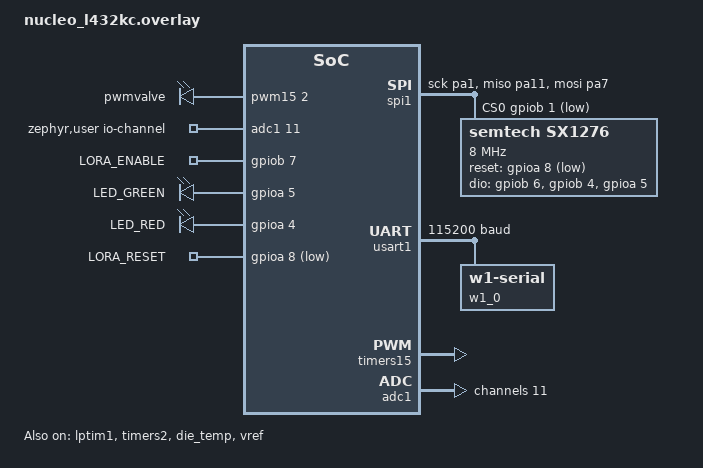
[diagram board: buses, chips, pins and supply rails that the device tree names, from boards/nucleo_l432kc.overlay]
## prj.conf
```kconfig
CONFIG_PINCTRL=y
CONFIG_GPIO=y
CONFIG_PWM=y

CONFIG_LORA=y
CONFIG_LORA_SX127X=y

CONFIG_SPI=y

CONFIG_CBPRINTF_FP_SUPPORT=y


# Enables deep sleep modes
CONFIG_PM=y                   # Enable power management
CONFIG_PM_DEVICE=y            # For device power management
CONFIG_PM_DEVICE_RUNTIME=y
CONFIG_PM_DEVICE_SYSTEM_MANAGED=y
CONFIG_TICKLESS_KERNEL=y
CONFIG_STM32_LPTIM_TIMER=y

CONFIG_COUNTER=y

# for the 1-wire temperature sensor
CONFIG_SENSOR=y
CONFIG_W1=y

CONFIG_ADC=y

CONFIG_LOG=y
CONFIG_LOG_DEFAULT_LEVEL=3

CONFIG_FLASH=y
CONFIG_NVS=y
CONFIG_NVS_LOG_LEVEL_DBG=y
CONFIG_MPU_ALLOW_FLASH_WRITE=y
```

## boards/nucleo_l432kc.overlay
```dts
// DO NOT FORGET TO REMOVE SB9 JUMPER ON THE NUCLEO BOARD

/* SX1276 LoRa module connected to Nucleo-L432KC over SPI1 */
&spi1 {
    status = "okay";
    cs-gpios = <&gpiob 1 GPIO_ACTIVE_LOW>; 
    pinctrl-0 = < &spi1_sck_pa1 &spi1_miso_pa11 &spi1_mosi_pa7 >;
    lora0: sx1276@0 {
        compatible = "semtech,sx1276";
        reg = <0>;
        label = "SX1276";
        spi-max-frequency = <DT_FREQ_M(8)>;
        status = "okay";
        reset-gpios = <&gpioa 8 GPIO_ACTIVE_LOW>;  
        dio-gpios = <&gpiob 6 (GPIO_PULL_DOWN | GPIO_ACTIVE_HIGH)>,
                    <&gpiob 4 (GPIO_PULL_DOWN | GPIO_ACTIVE_HIGH)>,
                    <&gpioa 5 (GPIO_PULL_DOWN | GPIO_ACTIVE_HIGH)>;
        power-amplifier-output = "pa-boost";
        //dio3-tcxo-voltage = <SX126X_DIO3_TCXO_1V8>;
    };
};


&usart1_tx_pa9 {
	drive-open-drain;
	bias-pull-up;
    slew-rate = "very-high-speed";
};

&can1 {
    status = "disabled";
};

&i2c1 {
    status = "disabled";
};


&lptim1 {
    status = "okay";
};


&usart1 {
    status = "okay";
    single-wire;
    current-speed = <115200>;
    w1_0: w1-zephyr-serial-0 {
		compatible = "zephyr,w1-serial";
		#address-cells = <1>;
		#size-cells = <0>;
		status = "okay";

		ds18b20-0 {
            label = "SENSOR_DS18B20_0";
            compatible = "maxim,ds18b20";
            family-code = <0x28>;
            resolution = <12>;
            status = "okay";
        };
        
        
        ds18b20-1 {
            label = "SENSOR_DS18B20_1";
            compatible = "maxim,ds18b20";
            family-code = <0x28>;
            resolution = <12>;
            status = "okay";
        };

        ds18b20-2 {
            label = "SENSOR_DS18B20_2";
            compatible = "maxim,ds18b20";
            family-code = <0x28>;
            resolution = <12>;
            status = "okay";
        };
       
        
        // already having two nodes in the device tree is enough
        // to start identifying multiple devices on the bus 
        // with their ROMs
	};
};

&rtc {
    status = "disabled";
    //clocks = <&rcc STM32_CLOCK(APB1, 10U)>;
    //wakeup-source;
};

&timers6{
    status = "disabled";
};

&timers2{
    status = "okay";
    st,prescaler = <7999>;// will count with ticks of 0.1ms
    counter2: counter{
        compatible = "st,stm32-counter";
        status = "okay";
    };
};

&timers15{
    st,prescaler = <79>;
    status = "okay";
    pwm15: pwm{
        compatible = "st,stm32-pwm";
        status = "okay";
        pinctrl-0 = <&tim15_ch2_pa3>;
        pinctrl-names = "default";
    };
};

&die_temp{
    status = "okay";
};

&adc1{
    status = "okay";
    st,adc-clock-source = "SYNC";
    st,adc-prescaler = < 4 >;
    #address-cells = <1>;
	#size-cells = <0>;
    vref-mv = <3300>;
    channel@b{
        reg = <11>;
        zephyr,gain = "ADC_GAIN_1";
		zephyr,reference = "ADC_REF_INTERNAL";
		zephyr,acquisition-time = <ADC_ACQ_TIME_DEFAULT>;
		zephyr,resolution = <12>;
    };
};

&vref {
    status = "okay";
};

/ {
    pwmleds: pwmleds{
        compatible = "pwm-leds";
        status = "okay";
        pwmvalve: tim15_ch2n_pwm{
            pwms = <&pwm15 2 PWM_MSEC(2) PWM_POLARITY_NORMAL>;
        };
    };
    aliases {
        lora0 = &lora0;
        rtc0 = &rtc;
        lora-en-pin = &lora_en;
        lora-reset-pin = &lore_reset;
        led-green-pin = &led_green;
        led-red-pin = &led_red;
        die-temp0 = &die_temp;
    };

    chosen{
        zephyr,rtc = &rtc;

        //zephyr,cortex-m-idle-timer = &rtc;
    };

    zephyr,user{
        io-channels = <&adc1 11>;
    };

    leds{
        compatible = "gpio-leds";
        status = "okay";

        lora_en: lora-en{
            gpios = <&gpiob 7 GPIO_ACTIVE_HIGH>;
            label = "LORA_ENABLE";
        };

        led_green: led-green{
            gpios = <&gpioa 5 GPIO_ACTIVE_HIGH>;
            label = "LED_GREEN";
        };

        led_red: led-red{
            gpios = <&gpioa 4 GPIO_ACTIVE_HIGH>;
            label = "LED_RED";
        };

        lore_reset: lora-reset{
            gpios = <&gpioa 8 GPIO_ACTIVE_LOW>;
            label = "LORA_RESET";
        };
    };

};
```

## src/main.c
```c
/*
 * Copyright (c) 2019 Nordic Semiconductor ASA
 *
 * SPDX-License-Identifier: Apache-2.0
 */

#include <zephyr/kernel.h>
#include <zephyr/device.h>
#include <zephyr/pm/device_runtime.h>
#include <zephyr/pm/pm.h>

#include <zephyr/drivers/gpio.h>
#include <zephyr/drivers/pwm.h>
#include <zephyr/drivers/lora.h>
#include <zephyr/drivers/counter.h>
#include <zephyr/drivers/sensor.h>
#include <zephyr/drivers/w1.h>
#include <zephyr/drivers/sensor/w1_sensor.h>
#include <zephyr/drivers/adc.h> 

#include <zephyr/sys/util.h>
#include <zephyr/sys/byteorder.h>

#include <zephyr/drivers/flash.h>
#include <zephyr/storage/flash_map.h>
#include <zephyr/fs/nvs.h>


// Here is a description of what this program will do:
// It will mostly be asleep. Every 5 minutes it will wake up, measure the
// temperature(s), activate the valve if necessary (remember how long it
// opened that for), and send a LoRa packet with the temperature(s) and
// valve opening duration. After sending this LoRa packet, it might get
// a reply packet with new settings.




//---------------------------- DEFINES ----------------------------------------
// comment out this line to disable debug prints
#define DEBUGGING 1

// kinds of algorithms:
// 1: simple threshold-based control
// 2: ERT calculating control
#define CONTROL_ALGORITHM 2

// this defines the maximum length of a LoRa packet
#define LORA_MAX_PACKET_LEN 32

#define NUMBER_OF_TEMP_SENSORS 3

#define PWM_PHASE_FREQUENCY 250
#define PWM_TIMER_FREQUENCY 1000000

#if !DT_NODE_EXISTS(DT_PATH(zephyr_user)) || \
	!DT_NODE_HAS_PROP(DT_PATH(zephyr_user), io_channels)
#error "No suitable devicetree overlay specified"
#endif

#define DT_SPEC_AND_COMMA(node_id, prop, idx) \
	ADC_DT_SPEC_GET_BY_IDX(node_id, idx),
//------------------------ DEVICETREE INSTANCES -------------------------------

// the non-volatile storage stores the target positions from the last
// experiment such that a calibrated position can be retained, the stages
// won't have to move far (loudly) to get to this position.
#define NVS_PARTITION storage_partition
#define NVS_PARTITION_DEVICE  FIXED_PARTITION_DEVICE(NVS_PARTITION)
#define NVS_PARTITION_OFFSET	FIXED_PARTITION_OFFSET(NVS_PARTITION)

//#define RECOMMENDED_ERT_AT_72 2718 // 3log10 
#define RECOMMENDED_ERT_AT_72 439 // 2log10 

// LORA RADIO
#define LORA_NODE DT_ALIAS(lora0)
const struct device *const lora_dev = DEVICE_DT_GET(LORA_NODE);

// ONBOARD LEDs
#define LED_RED_NODE DT_ALIAS(led_red_pin)
static const struct gpio_dt_spec led_red = GPIO_DT_SPEC_GET(LED_RED_NODE, gpios);

#define LED_GREEN_NODE DT_ALIAS(led_green_pin)
static const struct gpio_dt_spec led_green = GPIO_DT_SPEC_GET(LED_GREEN_NODE, gpios);

// LORA RESET PIN
#define LORA_RESET_NODE DT_ALIAS(lora_reset_pin)
static const struct gpio_dt_spec lora_reset = GPIO_DT_SPEC_GET(LORA_RESET_NODE, gpios);

// CONSOLE UART

// COUNTER
const struct device *counter_dev = DEVICE_DT_GET(DT_NODELABEL(counter2));

// PWM
static const struct pwm_dt_spec pwm_dev = PWM_DT_SPEC_GET(DT_NODELABEL(pwmvalve));

// ADC (for battery voltage measurement)
static const struct adc_dt_spec adc_channels[] = {
	DT_FOREACH_PROP_ELEM(DT_PATH(zephyr_user), io_channels,
			     DT_SPEC_AND_COMMA)
};

// DIE TEMPERATURE
#define DIE_TEMP_NODE DT_ALIAS(die_temp0)
static const struct device *const die_temp_sensor = DEVICE_DT_GET(DIE_TEMP_NODE);

// VALVE IO
uint32_t pwm_period_in_ns = PWM_TIMER_FREQUENCY / PWM_PHASE_FREQUENCY;

//----------------------- USERSPACE VARIABLES ---------------------------------
static struct nvs_fs non_volatile_file_system;

struct ert_point{
    float equivalent_time_72;
    uint8_t valid;
};

// The filesystem works like a python dictionary. Every variable
// field there is accessed by a number
#define ERT_POINTS_ARRAY 0
#define INDEX_TO_ERT_MOST_RECENT 1
#define ACCUMULATED_ERTS 2

struct ert_point ert_points[1440];
uint16_t index_most_recent_ert_point = 0;
float accumulated_retention_time_72 = 0;

uint8_t lora_tx_buffer[LORA_MAX_PACKET_LEN];
uint8_t lora_rx_buffer[LORA_MAX_PACKET_LEN];


// LORA config
struct lora_modem_config lora_configuration = {
	// these have to match the gateway settings!
	.frequency = 433000000,
	.bandwidth = BW_125_KHZ,
	.datarate = SF_10,
	.preamble_len = 8,
	.coding_rate = CR_4_5,
	.iq_inverted = false,
	.public_network = false,
	.tx_power = 20,
	.tx = true
};

// simple variable to hold return values
int ret;

volatile uint32_t one_second_counter = 0;
uint32_t counter_frequency;
uint16_t counter_top_value;
struct counter_alarm_cfg alarm_cfg;


// ADC variables
uint16_t adc_measurement_buffer;
struct adc_sequence sequence = {
	.buffer = &adc_measurement_buffer,
	/* buffer size in bytes, not number of samples */
	.buffer_size = sizeof(adc_measurement_buffer),
};
int32_t val_mv;
uint32_t battery_voltage_mv;

// die temperature variables
struct sensor_value die_temp;
float die_temp_celsius;

// tank temperature measurement variables
const struct device* temp_sensor_devices[NUMBER_OF_TEMP_SENSORS];
struct sensor_value temp;
struct w1_rom w1_roms[NUMBER_OF_TEMP_SENSORS];
struct sensor_value rom_values[NUMBER_OF_TEMP_SENSORS];
uint64_t rom_addresses[NUMBER_OF_TEMP_SENSORS] = {
	// IMPORTANT: Set these ROM addresses to match your actual DS18B20 sensor hardware.
	// You can obtain the ROM addresses by running a discovery routine or using a tool to read them from each sensor.
	// Example: Use a 1-Wire ROM search command or a test program to print connected sensor addresses, then update these values.
	// The addresses below are placeholders and must be replaced for production deployment.
	0x28f8a2bb00000078, // top
	0x282091c0000000eb, // middle
	0x28a91e470000006c // bottom
};
float tank_temperatures[NUMBER_OF_TEMP_SENSORS];



#if CONTROL_ALGORITHM == 2
#if CONTROL_ALGORITHM == 2
// (ert_history and ert_history_index removed as they were unused)
#endif

//------------------------ FUNCTION DEFINITIONS ----------------------------------

// kernel sleep forces the system to enter some power
// saving mode, use this delay instead if you don't want that
// but we do want to save power so do not use this function
static inline void blocking_sleep_ms(uint32_t ms_amount){
	uint32_t increments = ms_amount*1000*300/38;
    for(uint32_t i = 0; i < increments; i++);
}


static void counter_interrupt_callback(const struct device *dev,
                                       void *user_data) {
  // 1 second has elapsed
  one_second_counter++;
  #ifdef DEBUGGING
  //printk("Counter interrupt callback called! one_second_counter = %u\n", one_second_counter);
  #endif
}


#if CONTROL_ALGORITHM == 2
// the ert is given by the formula: ert = 5 (minutes) * D_72/D_currentTemp
// I will extrapolate from these values (temperature - D value)
// 60C	12360
// 64C	7973
// 68C	4530
// 72C	2718
// 76C	1652
// 80C	1044
float calculate_ert(float current_temp){
	// some stuff with logarithms. The calculation is in my notebook
	if(current_temp < 60.0){
		return 0;
	}
	float approximate_d_value = 0.0;
	if(current_temp >= 60.0 && current_temp < 64.0){
		approximate_d_value = 7973.0 + (12360.0 - 7973.0) * (64.0 - current_temp) / 4.0;
	}
	else if(current_temp >= 64.0 && current_temp < 68.0){
		approximate_d_value = 4530.0 + (7973.0 - 4530.0) * (68.0 - current_temp) / 4.0;
	}
	else if(current_temp >= 68.0 && current_temp < 72.0){
		approximate_d_value = 2718.0 + (4530.0 - 2718.0) * (72.0 - current_temp) / 4.0;
	}
	else if(current_temp >= 72.0 && current_temp < 76.0){
		approximate_d_value = 1652.0 + (2718.0 - 1652.0) * (76.0 - current_temp) / 4.0;
	}
	else if(current_temp >= 76.0 && current_temp < 80.0){
		approximate_d_value = 1044.0 + (1652.0 - 1044.0) * (80.0 - current_temp) / 4.0;
	}else{
		approximate_d_value = 1044.0;
	}
	return (5 * 2718.0 / approximate_d_value); // 2718 is the D value at 72 degrees, which is our reference temperature
}
#endif

//---------------------------- MAIN FUNCTION -----------------------------------
	ret = pwm_set_dt(&pwm_dev, pwm_period_in_ns, 0); // turn off PWM
	if (ret != 0) {
		#ifdef DEBUGGING
		printk("PWM initialization failed: %d\n", ret);
		#endif
		return ret;
	}
	gpio_pin_configure_dt(&led_red, GPIO_OUTPUT_ACTIVE);
	gpio_pin_configure_dt(&led_green, GPIO_OUTPUT_ACTIVE);
	k_msleep(1000); // wait for things to stabilize
	gpio_pin_configure_dt(&led_red, GPIO_OUTPUT_ACTIVE);
	gpio_pin_configure_dt(&led_green, GPIO_OUTPUT_ACTIVE);
	k_msleep(1000); // wait for things to stabilize

	// NON-VOLATILE STORAGE SETUP
    struct flash_pages_info page_info;

	non_volatile_file_system.flash_device = NVS_PARTITION_DEVICE;
	if (!device_is_ready(non_volatile_file_system.flash_device)) {
		#ifdef DEBUGGING
		printk("Flash device %s is not ready\n", non_volatile_file_system.flash_device->name);
		#endif
		return 0;
	}
	non_volatile_file_system.offset = NVS_PARTITION_OFFSET;
	ret = flash_get_page_info_by_offs(non_volatile_file_system.flash_device, non_volatile_file_system.offset, &page_info);
	if (ret) {
		#ifdef DEBUGGING
		printk("Unable to get page info, rc=%d", ret);
		#endif
		return 0;
	}

	non_volatile_file_system.sector_size = page_info.size;
	non_volatile_file_system.sector_count = 3U;

	ret = nvs_mount(&non_volatile_file_system);
	if (ret) {
		#ifdef DEBUGGING
		printk("Flash Init failed, rc=%d", ret);
		#endif
		return 0;
	}

	ret = nvs_read(&non_volatile_file_system, INDEX_TO_ERT_MOST_RECENT, 
		&index_most_recent_ert_point, sizeof(index_most_recent_ert_point));
	if (ret < 0){ 
		// variable not found in the filesystem.
		// we should initialize it
		index_most_recent_ert_point = 1440 - 1; // so that it is taken to 0 by the algorithm
		nvs_write(&non_volatile_file_system, INDEX_TO_ERT_MOST_RECENT, 
			&index_most_recent_ert_point, sizeof(index_most_recent_ert_point));
	}
	ret = nvs_read(&non_volatile_file_system, ERT_POINTS_ARRAY, 
		ert_points, sizeof(ert_points));
	if (ret < 0){
		// variable not found in the filesystem.
		// we should initialize it
		for(int i = 0; i < 1440; i++){
			ert_points[i].equivalent_time_72 = 0;
			ert_points[i].valid = 0;
		}
		nvs_write(&non_volatile_file_system, ERT_POINTS_ARRAY, 
			ert_points, sizeof(ert_points));
	}

	ret = nvs_read(&non_volatile_file_system, ACCUMULATED_ERTS, 
		&accumulated_retention_time_72, sizeof(accumulated_retention_time_72));
	if (ret < 0){
		// variable not found in the filesystem.
		// we should initialize it by summing up all the erts in the array that we just initialized.
		accumulated_retention_time_72 = 0;
		for(int i = 0; i < 1440; i++){
			accumulated_retention_time_72 += ert_points[i].equivalent_time_72;
		}
		nvs_write(&non_volatile_file_system, ACCUMULATED_ERTS, 
			&accumulated_retention_time_72, sizeof(accumulated_retention_time_72));
	}

	// DEVICE BINDINGS (TEMPERATURE SENSORS)
	temp_sensor_devices[0] =  device_get_binding("SENSOR_DS18B20_0");
	temp_sensor_devices[1] =  device_get_binding("SENSOR_DS18B20_1");
	temp_sensor_devices[2] =  device_get_binding("SENSOR_DS18B20_2");

	for(int i = 0; i < NUMBER_OF_TEMP_SENSORS; i++){
		if (!temp_sensor_devices[i] || !device_is_ready(temp_sensor_devices[i])) {
			#ifdef DEBUGGING
			printk("DS18B20 sensor device %d is not ready or found.\n", i);
			#endif
			return -1;
		}
	}

	for (int i = 0; i < NUMBER_OF_TEMP_SENSORS; i++) {
		w1_uint64_to_rom(rom_addresses[i], &w1_roms[i]);
		w1_rom_to_sensor_value(&w1_roms[i], &rom_values[i]);
	}


	// ADC SETUP
	if (!adc_is_ready_dt(&adc_channels[0])) {
		#ifdef DEBUGGING
		printk("ADC controller device %s not ready\n", adc_channels[0].dev->name);
		#endif
	}

	ret = adc_channel_setup_dt(&adc_channels[0]);
	if (ret < 0) {
		#ifdef DEBUGGING
		printk("Could not setup ADC channel (%d)\n", ret);
		#endif
	}


	while(1){
		#ifdef DEBUGGING
		printk("Program has arrived at main\n");
		#endif


		// COUNTER INIT
		one_second_counter = 0;
		counter_frequency = counter_get_frequency(counter_dev);
		
		struct counter_top_cfg counter_cfg;
		counter_cfg.ticks = counter_frequency*1; // 1 second tops
		counter_cfg.callback = counter_interrupt_callback;
		counter_cfg.flags = 0;
		counter_cfg.user_data = NULL;
		ret = counter_set_top_value(counter_dev, &counter_cfg);
		if (ret != 0) {
			#ifdef DEBUGGING
			printk("Error %d setting counter top value\n", ret);
			#endif
		}
		
		counter_start(counter_dev);
		#ifdef DEBUGGING
		printk("Counter started\n");
		#endif
		// ENDOF: COUNTER INIT


		// LED initialization
		gpio_pin_set_dt(&led_red, 1);


		// GET BATTERY VOLTAGE

		(void)adc_sequence_init_dt(&adc_channels[0], &sequence);
		ret = adc_read_dt(&adc_channels[0], &sequence);
		if (ret < 0) {
			#ifdef DEBUGGING
			printk("Could not read (%d)\n", ret);
			#endif
		}

		val_mv = (int32_t)((int16_t)adc_measurement_buffer);
		ret = adc_raw_to_millivolts_dt(&adc_channels[0],&val_mv);

		if (ret < 0) {
			#ifdef DEBUGGING
			printk(" (value in mV not available)\n");
			#endif
		} else {
			float ratio = (12200.0f / 2200.0f); // voltage divider ratio
			battery_voltage_mv = (uint32_t)((float)val_mv * ratio);
			//battery_voltage_mv = battery_voltage_mv * 13.24/13.04; // calibration factor
			#ifdef DEBUGGING
			printk("Battery voltage reading: %d mV\n", battery_voltage_mv);
			#endif
		}
		// ENDOF: GET BATTERY VOLTAGE

		// GET DIE TEMPERATURE
		ret = sensor_sample_fetch(die_temp_sensor);
		if (ret != 0) {
			#ifdef DEBUGGING
			printk("sample_fetch() failed for die temp sensor: %d\n", ret);
			k_msleep(100);
			#endif
		}

		ret = sensor_channel_get(die_temp_sensor, SENSOR_CHAN_DIE_TEMP, &die_temp);
		if (ret != 0) {
			#ifdef DEBUGGING
			printk("channel_get() failed for die temp sensor: %d\n", ret);
			k_msleep(100);
			#endif
		}
		
		die_temp_celsius = sensor_value_to_double(&die_temp);
		// print die temp
		#ifdef DEBUGGING
		printk("Die temperature: %f\n", die_temp_celsius);
		#endif

		//ENDOF: GET DIE TEMPERATURE

		// READ TEMPERATURE SENSORS
		for(int i = 0; i < NUMBER_OF_TEMP_SENSORS; i++){
			sensor_attr_set(temp_sensor_devices[i], SENSOR_CHAN_ALL,
				SENSOR_ATTR_W1_ROM, &rom_values[i]);
			ret = sensor_sample_fetch(temp_sensor_devices[i]);
			if (ret != 0) {
				#ifdef DEBUGGING
				printk("sample_fetch() failed for sensor %d: %d\n", i, ret);
				k_msleep(100);
				#endif
			}

			ret = sensor_channel_get(temp_sensor_devices[i], SENSOR_CHAN_AMBIENT_TEMP, &temp);
			if (ret != 0) {
				#ifdef DEBUGGING
				printk("channel_get() failed for sensor %d: %d\n", i, ret);
				k_msleep(100);
				#endif
			}

			tank_temperatures[i] = sensor_value_to_double(&temp);
			if(tank_temperatures[i] == 0){
				// wrong measurement. try again?
			}
			#ifdef DEBUGGING
			printk("Temp sensor %d: %f\n", i, tank_temperatures[i]);
			#endif
		}

		float tank_temperature_start = tank_temperatures[2];
		
		
		// ENDOF: READ TEMPERATURE SENSORS
		

		// CONTROL ALGORITHM

		// update the ert node
		// first we have to calculate the equivalent time at 72 degrees for this new measurement, and add it to the history in the filesystem
#if CONTROL_ALGORITHM == 2
		index_most_recent_ert_point = (index_most_recent_ert_point + 1) % 1440;
		ert_points[index_most_recent_ert_point].equivalent_time_72 = calculate_ert(tank_temperatures[2]);
		accumulated_retention_time_72 += ert_points[index_most_recent_ert_point].equivalent_time_72;
		ert_points[index_most_recent_ert_point].valid = 1;
		nvs_write(&non_volatile_file_system, INDEX_TO_ERT_MOST_RECENT, 
			&index_most_recent_ert_point, sizeof(index_most_recent_ert_point));
		
		
		/*
		// now with the updated history, we can calculate the accumulated retention time.
		// TODO: instead of summing up all erts every time, I should have a non-volatile stored variable that keeps track of that. 
		
		uint16_t ert_points_slider = (index_most_recent_ert_point - 1 + 1440 ) % 1440;
		while(ert_points_slider != index_most_recent_ert_point){
			if(ert_points[ert_points_slider].valid == 1){
				accumulated_retention_time_72 += ert_points[ert_points_slider].equivalent_time_72;
			}
			else{
				break;
			}
			ert_points_slider = (ert_points_slider - 1 + 1440) % 1440; // increment and wrap around
			//if(accumulated_retention_time_72 > RECOMMENDED_ERT_AT_72){
			//	break; // no need to keep adding if we are already above the recommended ERT
			//}
		}
		*/
		// now maybe we can let some out. But how much? And how many ert points should I delete?
		// I will start from one index above the most recent (going to the oldest, effectively)
		// first we should find that index.
		ert_points_slider = (index_most_recent_ert_point + 1) % 1440;
		while(ert_points_slider != index_most_recent_ert_point){
			if(ert_points[ert_points_slider].valid == 0){
				ert_points_slider = (ert_points_slider + 1) % 1440; // increment and wrap around
			}
		}

		
		// assuming that the amount that goes in is the same as the amount that goes out:
		uint32_t control_loop_counter = 0; // to count how many times the valve has been opened 
		while(accumulated_retention_time_72 > RECOMMENDED_ERT_AT_72){
			// we will invalidate this point, and move on to the next one until we are below the recommended ERT
			if(battery_voltage_mv > 13000 && die_temp_celsius < 60.0){
				ert_points[ert_points_slider].valid = 0;
				accumulated_retention_time_72 -= ert_points[ert_points_slider].equivalent_time_72;
				ert_points_slider = (ert_points_slider + 1) % 1440; // increment and wrap around

				// open valve for some time
				#ifdef DEBUGGING
				printk("Opening valve...\n");
				#endif
				ret = pwm_set_dt(&pwm_dev, pwm_period_in_ns, pwm_period_in_ns); 
				k_msleep(500);
				#ifdef DEBUGGING
				printk("Opening valve with modulation...\n");
				#endif
				ret = pwm_set_dt(&pwm_dev, pwm_period_in_ns, pwm_period_in_ns*0.6); 
				k_msleep(8500);
				#ifdef DEBUGGING
				printk("Closing valve...\n");
				#endif
				ret = pwm_set_dt(&pwm_dev, pwm_period_in_ns, 0); // turn off PWM
			} else { // either battery too low or the die temperature is too high
				#ifdef DEBUGGING
				printk("Battery voltage too low or die too high to open valve: %u mV\n", battery_voltage_mv);
				#endif
				ret = pwm_set_dt(&pwm_dev, pwm_period_in_ns, 0); // turn off PWM
				break;
			}

			if (ret != 0) {
				// deadly fault. exit
				#ifdef DEBUGGING
				printk("valve open failed: %d\n", ret);
				k_msleep(100);
				#endif
				return ret;
			}
			

			
			// measure battery voltage again
			(void)adc_sequence_init_dt(&adc_channels[0], &sequence);
			ret = adc_read_dt(&adc_channels[0], &sequence);
			if (ret < 0) {
				#ifdef DEBUGGING
				printk("Could not read (%d)\n", ret);
				#endif
			}

			val_mv = (int32_t)((int16_t)adc_measurement_buffer);
			ret = adc_raw_to_millivolts_dt(&adc_channels[0],&val_mv);

			if (ret < 0) {
				#ifdef DEBUGGING
				printk(" (value in mV not available)\n");
				#endif
			} else {
				float ratio = (12200.0f / 2200.0f); // voltage divider ratio
				battery_voltage_mv = (uint32_t)((float)val_mv * ratio);
				#ifdef DEBUGGING
				printk("Battery voltage reading: %d mV\n", battery_voltage_mv);
				#endif
			}

			// Measure die temperature again
			// GET DIE TEMPERATURE
			ret = sensor_sample_fetch(die_temp_sensor);
			if (ret != 0) {
				#ifdef DEBUGGING
				printk("sample_fetch() failed for die temp sensor: %d\n", ret);
				k_msleep(100);
				#endif
			}

			ret = sensor_channel_get(die_temp_sensor, SENSOR_CHAN_DIE_TEMP, &die_temp);
			if (ret != 0) {
				#ifdef DEBUGGING
				printk("channel_get() failed for die temp sensor: %d\n", ret);
				k_msleep(100);
				#endif
			}
			
			die_temp_celsius = sensor_value_to_double(&die_temp);
			// print die temp
			#ifdef DEBUGGING
			printk("Die temperature: %f\n", die_temp_celsius);
			#endif

			control_loop_counter++; // to mark how many times the loop has run
			k_msleep(1000);

		}
		
		nvs_write(&non_volatile_file_system, ACCUMULATED_ERTS, 
			&accumulated_retention_time_72, sizeof(accumulated_retention_time_72));
		
		
		// save the changed ert points array
		// this is such a long operation. I should do it less often
		nvs_write(&non_volatile_file_system, ERT_POINTS_ARRAY, 
			ert_points, sizeof(ert_points));
		

		// PREPARE THE LORA PACKET
		uint32_t tank_temp_start_mcelsius = (uint32_t)(tank_temperature_start*1000);
		uint32_t tank_temp_end_mcelsius = (uint32_t)(tank_temperatures[1]*1000);
		uint32_t tank_temp_bottom_mcelsius = (uint32_t)(tank_temperatures[2]*1000);
		uint32_t tank_temp_top_mcelsius = (uint32_t)(tank_temperatures[0]*1000);
		uint32_t die_temp_mcelsius = (uint32_t)(die_temp_celsius*1000);

		// the data we will put in the lora packet consists of:
		// 4 bytes: battery voltage in mv
		// 4 bytes: tank temperature at the top in mC
		// 4 bytes: tank temperature at the middle in the beginning in mC
		// 4 bytes: tank temperature at the bottom in mC
		// // 4 bytes: number of times the valve was opened (uint32_t)
		// 4 bytes: tank temperature at the middle in the end in mC
		memcpy(&lora_tx_buffer[0], &battery_voltage_mv, 4);
		memcpy(&lora_tx_buffer[4], &tank_temp_top_mcelsius, 4);
		memcpy(&lora_tx_buffer[8], &tank_temp_start_mcelsius, 4);
		memcpy(&lora_tx_buffer[12], &tank_temp_bottom_mcelsius, 4);
		memcpy(&lora_tx_buffer[16], &tank_temp_end_mcelsius, 4);
		memcpy(&lora_tx_buffer[20], &die_temp_mcelsius, 4);

		// LORA RADIO CONFIGURATION AND SEND PACKET
		// write lora config

		gpio_pin_set_dt(&lora_reset, 1);
		k_msleep(500);
		gpio_pin_set_dt(&lora_reset, 0);
		k_msleep(1500);

		gpio_pin_set_dt(&led_green, 1);

		ret = lora_config(lora_dev, &lora_configuration);
		if (ret < 0) {
			#ifdef DEBUGGING
			printk("LoRa configuration failed with error %d\n", ret);
			#endif
		}

		k_msleep(100);

		ret = lora_send(lora_dev, lora_tx_buffer, 24);
		if (ret == 0) {
		#ifdef DEBUGGING
			printk("LoRa send sucessful\n");
			k_msleep(100);
			#endif
		}
		if (ret < 0) {
			#ifdef DEBUGGING
			printk("LoRa send failed\n");
			k_msleep(100);
			#endif
		}

#endif


		// put to sleep
		#ifdef DEBUGGING
		printk("Entering sleep mode...\n");
		#endif
		// Enter deep sleep mode
		gpio_pin_set_dt(&led_green, 0);
		gpio_pin_set_dt(&led_red, 0);
		//gpio_pin_set_dt(&lora_en, 0);

		uint32_t current_ticks;
		counter_get_value(counter_dev, &current_ticks);

		counter_stop(counter_dev);
		
		k_msleep(1000*60*5 - current_ticks/10 - one_second_counter*1000); // sleep for 5 minutes
		//k_msleep(1000);
	}	

	return 0;
}
```
